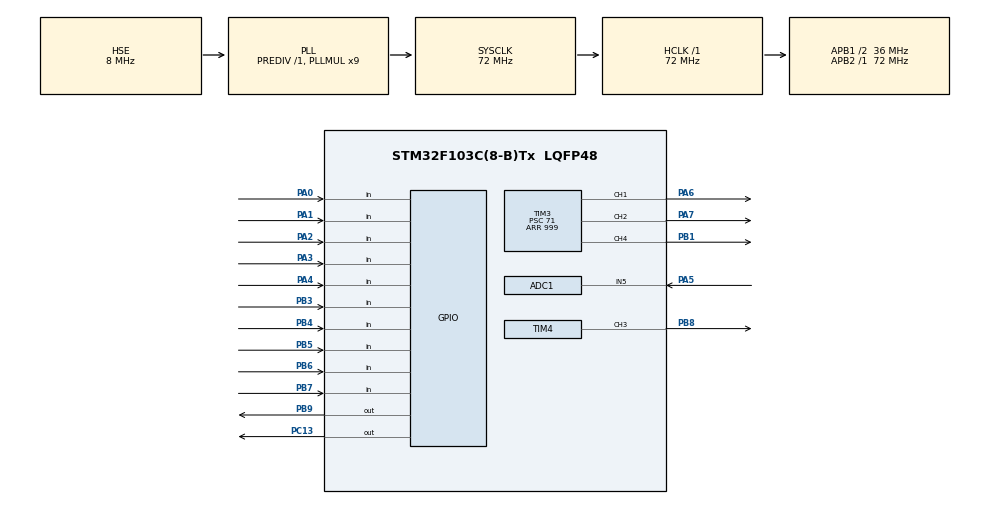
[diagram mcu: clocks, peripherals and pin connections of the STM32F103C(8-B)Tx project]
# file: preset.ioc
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ADC1.Channel-0\#ChannelRegularConversion=ADC_CHANNEL_5
ADC1.NbrOfConversionFlag=1
ADC1.Rank-0\#ChannelRegularConversion=1
ADC1.SamplingTime-0\#ChannelRegularConversion=ADC_SAMPLETIME_1CYCLE_5
ADC1.master=1
Mcu.Family=STM32F1
Mcu.Name=STM32F103C(8-B)Tx
Mcu.Package=LQFP48
NVIC.PriorityGroup=NVIC_PRIORITYGROUP_4
PA0-WKUP.Signal=GPIO_Input
PA1.Signal=GPIO_Input
PA13.Mode=Serial_Wire
PA13.Signal=SYS_JTMS-SWDIO
PA14.Mode=Serial_Wire
PA14.Signal=SYS_JTCK-SWCLK
PA2.Signal=GPIO_Input
PA3.Signal=GPIO_Input
PA4.Signal=GPIO_Input
PA5.Signal=ADCx_IN5
PA6.Signal=S_TIM3_CH1
PA7.Signal=S_TIM3_CH2
PB1.Signal=S_TIM3_CH4
PB3.Signal=GPIO_Input
PB4.Signal=GPIO_Input
PB5.Signal=GPIO_Input
PB6.Signal=GPIO_Input
PB7.Signal=GPIO_Input
PB8.Signal=S_TIM4_CH3
PB9.Signal=GPIO_Output
PC13-TAMPER-RTC.Signal=GPIO_Output
PD0-OSC_IN.Mode=HSE-External-Oscillator
PD0-OSC_IN.Signal=RCC_OSC_IN
PD1-OSC_OUT.Mode=HSE-External-Oscillator
PD1-OSC_OUT.Signal=RCC_OSC_OUT
ProjectManager.HeapSize=0x200
ProjectManager.StackSize=0x400
ProjectManager.TargetToolchain=CMake
RCC.ADCPresc=RCC_ADCPCLK2_DIV8
RCC.AHBFreq_Value=72000000
RCC.APB1CLKDivider=RCC_HCLK_DIV2
RCC.APB1Freq_Value=36000000
RCC.APB1TimFreq_Value=72000000
RCC.APB2Freq_Value=72000000
RCC.APB2TimFreq_Value=72000000
RCC.HCLKFreq_Value=72000000
RCC.PLLMUL=RCC_PLL_MUL9
RCC.PLLSourceVirtual=RCC_PLLSOURCE_HSE
RCC.SYSCLKFreq_VALUE=72000000
RCC.SYSCLKSource=RCC_SYSCLKSOURCE_PLLCLK
RCC.USBFreq_Value=72000000
SH.ADCx_IN5.0=ADC1_IN5,IN5
SH.S_TIM3_CH1.0=TIM3_CH1,PWM Generation1 CH1
SH.S_TIM3_CH2.0=TIM3_CH2,PWM Generation2 CH2
SH.S_TIM3_CH4.0=TIM3_CH4,PWM Generation4 CH4
SH.S_TIM4_CH3.0=TIM4_CH3,PWM Generation3 CH3
TIM3.Channel-PWM\ Generation1\ CH1=TIM_CHANNEL_1
TIM3.Channel-PWM\ Generation2\ CH2=TIM_CHANNEL_2
TIM3.Channel-PWM\ Generation4\ CH4=TIM_CHANNEL_4
TIM3.Period=999
TIM3.Prescaler=71
TIM4.Channel-PWM\ Generation3\ CH3=TIM_CHANNEL_3
TIM4.Period=999
TIM4.Prescaler=71
VP_TIM3_VS_ClockSourceINT.Mode=Internal
VP_TIM4_VS_ClockSourceINT.Mode=Internal
board=custom

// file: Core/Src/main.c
/* USER CODE BEGIN Header */
/**
 ******************************************************************************
 * @file           : main.c
 * @brief          : Main program body
 ******************************************************************************
 * @attention
 *
 * Copyright (c) 2025 STMicroelectronics.
 * All rights reserved.
 *
 * This software is licensed under terms that can be found in the LICENSE file
 * in the root directory of this software component.
 * If no LICENSE file comes with this software, it is provided AS-IS.
 *
 ******************************************************************************
 */
 /*
 TODO LIST
 1. 测试充电时间 CHARGE_TIME_MS 是否合适
 */
/* USER CODE END Header */
#include "main.h"
#include "adc.h"
#include "tim.h"
#include "gpio.h"

/* USER CODE BEGIN Includes */
#include <stdint.h>
#include <stdlib.h>
/* USER CODE END Includes */

/* USER CODE BEGIN PD */
// ========== 1. 时间参数定义 ==========
#define CHARGE_TIME_MS 10000 // 充电时间：10000ms (10秒)
#define LEAVE_TIME_MS  500   // 离开充电站时的盲跑时间：500ms (0.5秒)
#define ADC_THRESHOLD  1200  // ADC电压阈值 (1200约等于1.0V，根据实测调整)

// ========== 2. 速度常量定义 ==========
#define BASE_SPEED 300     // 基础速度
#define PWM_MAX_SPEED 1000 // PWM最大速度：定时器周期 (ARR+1)
/* USER CODE END PD */

/* USER CODE BEGIN PV */

extern TIM_HandleTypeDef htim3;
extern TIM_HandleTypeDef htim4;
extern ADC_HandleTypeDef hadc1;

// ========== 3. PID控制器参数 ==========
float Kp = 15.0f; // 比例系数：提供基础转向力
float Ki = 0.0f;  // 积分系数：循迹通常为0
float Kd = 50.0f; // 微分系数：抑制直角弯震荡，提供瞬时拉力

int16_t last_error = 0; // 记录上一次的偏差值

// ========== 4. 状态机定义 ==========
typedef enum {
  STATE_TRACKING,        // 正常循迹
  STATE_CHARGING,        // 停车充电
  STATE_LEAVING_STATION, // 充满后盲跑离开
  STATE_STOPPED          // 停止/故障
} CarState_t;

CarState_t g_car_state = STATE_TRACKING; // 初始状态
uint32_t g_charge_start_tick = 0;        // 计时器变量

/* USER CODE END PV */

void SystemClock_Config(void);
/* USER CODE BEGIN PFP */

void Motor_Init(void);
uint8_t Read_Front_Sensors(void);
int16_t Calculate_Deviation(uint8_t sensor_value);
void PID_Init(void);
int16_t PID_Calculate(int16_t deviation);
void Set_Motor_Speed(int16_t left_speed, int16_t right_speed);
uint8_t Check_Charging_Signal(void);

/* USER CODE END PFP */

/* USER CODE BEGIN 0 */

/**
 * @brief 检测是否进入无线充电区域
 * @retval 1: 检测到充电信号 (电压升高)
 * @retval 0: 未检测到
 */
uint8_t Check_Charging_Signal(void)
{
    // 1. 启动 ADC 转换
    HAL_ADC_Start(&hadc1);

    // 2. 等待转换完成 (超时 10ms)
    if (HAL_ADC_PollForConversion(&hadc1, 10) == HAL_OK)
    {
        // 3. 读取 ADC 值 (0 - 4095, 对应 0 - 3.3V)
        uint32_t adc_value = HAL_ADC_GetValue(&hadc1);

        // 4. 判断阈值
        if (adc_value > ADC_THRESHOLD)
        {
            return 1; // 在充电区
        }
    }
    // 停止 ADC (可选)
    // HAL_ADC_Stop(&hadc1);

    return 0; // 不在充电区
}

// 辅助函数：设置单个电机的PWM (支持跨定时器)
static void Set_Single_Motor(TIM_HandleTypeDef *htim_fwd, uint32_t ch_fwd,
                             TIM_HandleTypeDef *htim_rev, uint32_t ch_rev,
                             int16_t speed)
{
  // 限幅
  if (speed > PWM_MAX_SPEED) speed = PWM_MAX_SPEED;
  if (speed < -PWM_MAX_SPEED) speed = -PWM_MAX_SPEED;

  if (speed > 0) {
    // 前进
    __HAL_TIM_SET_COMPARE(htim_fwd, ch_fwd, speed);
    __HAL_TIM_SET_COMPARE(htim_rev, ch_rev, 0);
  } else if (speed < 0) {
    // 后退
    __HAL_TIM_SET_COMPARE(htim_fwd, ch_fwd, 0);
    __HAL_TIM_SET_COMPARE(htim_rev, ch_rev, abs(speed));
  } else {
    // 停止
    __HAL_TIM_SET_COMPARE(htim_fwd, ch_fwd, 0);
    __HAL_TIM_SET_COMPARE(htim_rev, ch_rev, 0);
  }
}

/* USER CODE END 0 */

int main(void)
{

  /* MCU Configuration--------------------------------------------------------*/

  /* Reset of all peripherals, Initializes the Flash interface and the Systick. */
  HAL_Init();

  /* Configure the system clock */
  SystemClock_Config();

  /* Initialize all configured peripherals */
  MX_GPIO_Init();
  MX_TIM3_Init();
  MX_TIM4_Init();
  MX_ADC1_Init();

  /* USER CODE BEGIN 2 */
  // ========== 系统启动初始化 ==========
  Motor_Init();
  PID_Init();
  g_car_state = STATE_CHARGING; // 初始进入充电模式
  /* USER CODE END 2 */

  /* Infinite loop */
  while (1)
  {

    /* USER CODE BEGIN 3 */

    // 1. 读取循迹传感器
    uint8_t sensors = Read_Front_Sensors();

    switch (g_car_state)
    {
      case STATE_TRACKING:
        // --- 正常循迹状态 ---

        // A. 检测是否需要充电
        if (Check_Charging_Signal())
        {
          // 立即停车
          Set_Motor_Speed(0, 0);
          // 记录开始时间，切换状态
          g_charge_start_tick = HAL_GetTick();
          g_car_state = STATE_CHARGING;
        }
        else
        {
          // B. 正常 PID 循迹
          int16_t deviation = Calculate_Deviation(sensors);
          int16_t correction = PID_Calculate(deviation);

          int16_t left = BASE_SPEED + correction;
          int16_t right = BASE_SPEED - correction;

          Set_Motor_Speed(left, right);
        }
        break;

      case STATE_CHARGING:
        // --- 充电状态 ---
        // 确保停车
        Set_Motor_Speed(0, 0);

        // 检查是否充够了时间
        if ((HAL_GetTick() - g_charge_start_tick) > CHARGE_TIME_MS)
        {
          // 充满，切换到盲跑离开模式
          g_charge_start_tick = HAL_GetTick(); // 复用变量记录离开时间
          g_car_state = STATE_LEAVING_STATION;
        }
        break;

      case STATE_LEAVING_STATION:
        // --- 盲跑离开状态 ---
        // 强制直行冲出充电区 (防止立刻又检测到电压而停车)
        Set_Motor_Speed(BASE_SPEED, BASE_SPEED);

        // 检查是否跑够了时间
        if ((HAL_GetTick() - g_charge_start_tick) > LEAVE_TIME_MS)
        {
          // 恢复正常循迹
          PID_Init(); // 重置PID误差
          g_car_state = STATE_TRACKING;
        }
        break;

      case STATE_STOPPED:
      default:
        Set_Motor_Speed(0, 0);
        break;
    }

    // 控制循环频率 (约 100Hz)
    HAL_Delay(10);
  }
  /* USER CODE END 3 */
}

void SystemClock_Config(void)
{
  // 保持 CubeMX 生成的内容，确保 ADC 分频正确 (/6 或 /8)
  RCC_OscInitTypeDef RCC_OscInitStruct = {0};
  RCC_ClkInitTypeDef RCC_ClkInitStruct = {0};
  RCC_PeriphCLKInitTypeDef PeriphClkInit = {0};

  /** Initializes the RCC Oscillators according to the specified parameters
  * in the RCC_OscInitTypeDef structure.
  */
  RCC_OscInitStruct.OscillatorType = RCC_OSCILLATORTYPE_HSE;
  RCC_OscInitStruct.HSEState = RCC_HSE_ON;
  RCC_OscInitStruct.HSEPredivValue = RCC_HSE_PREDIV_DIV1;
  RCC_OscInitStruct.HSIState = RCC_HSI_ON;
  RCC_OscInitStruct.PLL.PLLState = RCC_PLL_ON;
  RCC_OscInitStruct.PLL.PLLSource = RCC_PLLSOURCE_HSE;
  RCC_OscInitStruct.PLL.PLLMUL = RCC_PLL_MUL9;
  if (HAL_RCC_OscConfig(&RCC_OscInitStruct) != HAL_OK)
  {
    Error_Handler();
  }

  /** Initializes the CPU, AHB and APB buses clocks
  */
  RCC_ClkInitStruct.ClockType = RCC_CLOCKTYPE_HCLK|RCC_CLOCKTYPE_SYSCLK
                              |RCC_CLOCKTYPE_PCLK1|RCC_CLOCKTYPE_PCLK2;
  RCC_ClkInitStruct.SYSCLKSource = RCC_SYSCLKSOURCE_PLLCLK;
  RCC_ClkInitStruct.AHBCLKDivider = RCC_SYSCLK_DIV1;
  RCC_ClkInitStruct.APB1CLKDivider = RCC_HCLK_DIV2;
  RCC_ClkInitStruct.APB2CLKDivider = RCC_HCLK_DIV1;

  if (HAL_RCC_ClockConfig(&RCC_ClkInitStruct, FLASH_LATENCY_2) != HAL_OK)
  {
    Error_Handler();
  }

  // ADC 时钟配置 (关键：确保不超过 14MHz)
  PeriphClkInit.PeriphClockSelection = RCC_PERIPHCLK_ADC;
  PeriphClkInit.AdcClockSelection = RCC_ADCPCLK2_DIV8; // 72MHz / 8 = 9MHz (安全)
  if (HAL_RCCEx_PeriphCLKConfig(&PeriphClkInit) != HAL_OK)
  {
    Error_Handler();
  }
}

/* USER CODE BEGIN 4 */

// --- 硬件驱动函数实现 ---

void Motor_Init(void) {
  // 1. 激活 TB6612FNG / DRV8833 (STBY 引脚)
  HAL_GPIO_WritePin(GPIOB, GPIO_PIN_9, GPIO_PIN_SET);

  // 2. 启动 TIM3 (左轮全套 + 右轮后退)
  HAL_TIM_PWM_Start(&htim3, TIM_CHANNEL_1); // 左前
  HAL_TIM_PWM_Start(&htim3, TIM_CHANNEL_2); // 左后
  HAL_TIM_PWM_Start(&htim3, TIM_CHANNEL_4); // 右后

  // 3. 启动 TIM4 (右轮前进 - 修复损坏的PB0)
  HAL_TIM_PWM_Start(&htim4, TIM_CHANNEL_3); // 右前 (PB8)
}

void Set_Motor_Speed(int16_t left_speed, int16_t right_speed) {
  // 左电机: TIM3_CH1(Fwd) / TIM3_CH2(Rev)
  Set_Single_Motor(&htim3, TIM_CHANNEL_1, &htim3, TIM_CHANNEL_2, left_speed);

  // 右电机: TIM4_CH3(Fwd) / TIM3_CH4(Rev) -- 混合定时器
  Set_Single_Motor(&htim4, TIM_CHANNEL_3, &htim3, TIM_CHANNEL_4, right_speed);
}

uint8_t Read_Front_Sensors(void) {
  uint8_t sensor_val = 0;
  // 读取 PA0-PA4
  if (HAL_GPIO_ReadPin(GPIOA, GPIO_PIN_0) == GPIO_PIN_SET) sensor_val |= (1 << 0);
  if (HAL_GPIO_ReadPin(GPIOA, GPIO_PIN_1) == GPIO_PIN_SET) sensor_val |= (1 << 1);
  if (HAL_GPIO_ReadPin(GPIOA, GPIO_PIN_2) == GPIO_PIN_SET) sensor_val |= (1 << 2);
  if (HAL_GPIO_ReadPin(GPIOA, GPIO_PIN_3) == GPIO_PIN_SET) sensor_val |= (1 << 3);
  if (HAL_GPIO_ReadPin(GPIOA, GPIO_PIN_4) == GPIO_PIN_SET) sensor_val |= (1 << 4);
  return sensor_val;
}

int16_t Calculate_Deviation(uint8_t sensor_value) {
  // 物理位置权重 (非均匀分布)
  // S0(最右)..S4(最左) -> {43, 15, 0, -15, -43}
  int weights[5] = {43, 15, 0, -15, -43};

  float sum_weighted = 0;
  float sum_active = 0;

  for (int i = 0; i < 5; i++) {
    if ((sensor_value >> i) & 0x01) {
      sum_weighted += weights[i];
      sum_active++;
    }
  }

  // 丢线保持
  if (sum_active == 0) {
    return last_error;
  }

  int16_t error = (int16_t)(sum_weighted / sum_active);
  return error;
}

void PID_Init(void) {
  last_error = 0;
}

int16_t PID_Calculate(int16_t deviation) {
  // P项
  float P = deviation * Kp;
  // D项
  float D = (deviation - last_error) * Kd;

  last_error = deviation;

  int16_t output = (int16_t)(P + D);

  // 限幅
  if (output > 800) output = 800;
  if (output < -800) output = -800;

  return output;
}

/* USER CODE END 4 */

void Error_Handler(void)
{
  __disable_irq();
  while (1)
  {
  }
}
